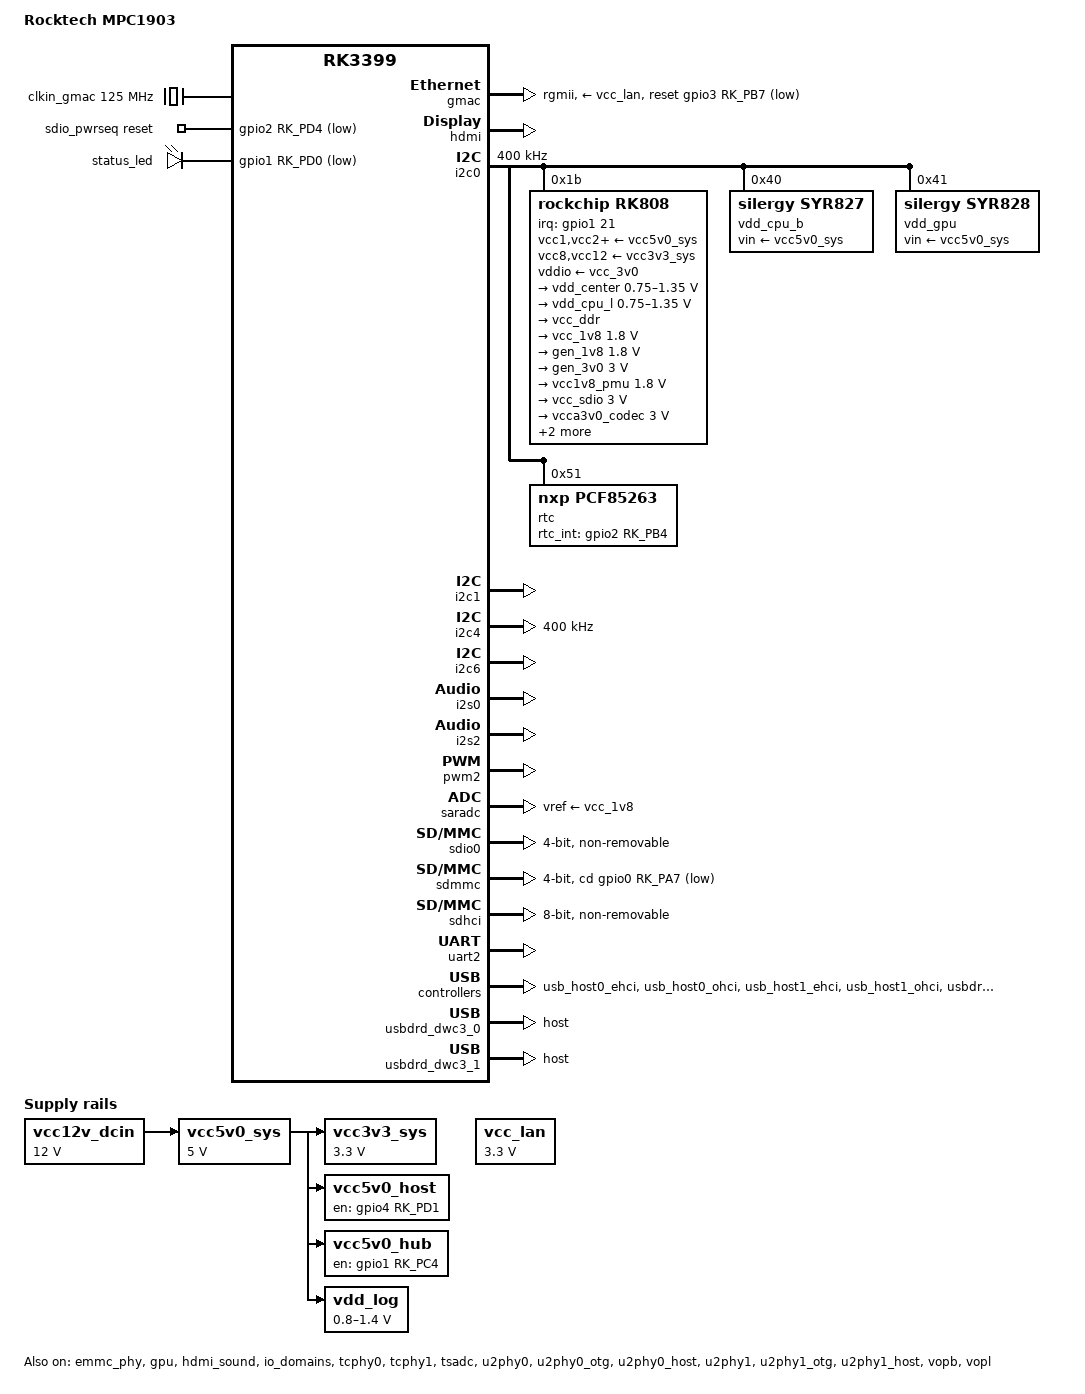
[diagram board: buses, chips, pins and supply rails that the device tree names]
// SPDX-License-Identifier: (GPL-2.0+ OR MIT)

/dts-v1/;
#include <dt-bindings/input/input.h>
#include "rk3399.dtsi"
#include "rk3399-opp.dtsi"

/ {
	model = "Rocktech MPC1903";
	compatible = "rocktech,mpc1903", "rockchip,rk3399";

	aliases {
		mmc0 = &sdmmc;
		mmc1 = &sdhci;
	};

	chosen {
		stdout-path = "serial2:1500000n8";
	};

	clkin_gmac: external-gmac-clock {
		compatible = "fixed-clock";
		clock-frequency = <125000000>;
		clock-output-names = "clkin_gmac";
		#clock-cells = <0>;
	};

	sdio_pwrseq: sdio-pwrseq {
		compatible = "mmc-pwrseq-simple";
		clocks = <&rk808 1>;
		clock-names = "ext_clock";
		pinctrl-names = "default";
		pinctrl-0 = <&wifi_enable_h>;
		reset-gpios = <&gpio2 RK_PD4 GPIO_ACTIVE_LOW>;
	};

	vcc12v_dcin: dc-12v {
		compatible = "regulator-fixed";
		regulator-name = "vcc12v_dcin";
		regulator-always-on;
		regulator-boot-on;
		regulator-min-microvolt = <12000000>;
		regulator-max-microvolt = <12000000>;
	};

	vcc5v0_sys: vcc-sys {
		compatible = "regulator-fixed";
		regulator-name = "vcc5v0_sys";
		regulator-always-on;
		regulator-boot-on;
		regulator-min-microvolt = <5000000>;
		regulator-max-microvolt = <5000000>;
		vin-supply = <&vcc12v_dcin>;
	};

	vcc3v3_sys: vcc3v3-sys {
		compatible = "regulator-fixed";
		regulator-name = "vcc3v3_sys";
		regulator-always-on;
		regulator-boot-on;
		regulator-min-microvolt = <3300000>;
		regulator-max-microvolt = <3300000>;
		vin-supply = <&vcc5v0_sys>;
	};

	vcc5v0_host: vcc5v0-host {
		compatible = "regulator-fixed";
		enable-active-high;
		gpio = <&gpio4 RK_PD1 GPIO_ACTIVE_HIGH>;
		pinctrl-names = "default";
		pinctrl-0 = <&vcc5v0_host_en>;
		regulator-name = "vcc5v0_host";
		regulator-always-on;
		vin-supply = <&vcc5v0_sys>;
	};

	vcc5v0_hub: vcc5v0-hub {
		compatible = "regulator-fixed";
		enable-active-high;
		gpio = <&gpio1 RK_PC4 GPIO_ACTIVE_HIGH>;
		pinctrl-names = "default";
		pinctrl-0 = <&vcc5v0_hub_en>;
		regulator-name = "vcc5v0_hub";
		regulator-always-on;
		vin-supply = <&vcc5v0_sys>;
	};

	vcc_lan: vcc-phy {
		compatible = "regulator-fixed";
		regulator-name = "vcc_lan";
		regulator-always-on;
		regulator-boot-on;
		regulator-min-microvolt = <3300000>;
		regulator-max-microvolt = <3300000>;
	};

	vdd_log: vdd-log {
		compatible = "pwm-regulator";
		pwms = <&pwm2 0 25000 1>;
		regulator-name = "vdd_log";
		regulator-always-on;
		regulator-boot-on;
		regulator-min-microvolt = <800000>;
		regulator-max-microvolt = <1400000>;
		vin-supply = <&vcc5v0_sys>;
	};

	leds {
		compatible = "gpio-leds";
		pinctrl-names = "default";
		pinctrl-0 = <&status_led_pin>;

		status_led: status-led {
			label = "status_led";
			linux,default-trigger = "heartbeat";
			gpios = <&gpio1 RK_PD0 GPIO_ACTIVE_LOW>;
		};
	};
};

&cpu_l0 {
	cpu-supply = <&vdd_cpu_l>;
};

&cpu_l1 {
	cpu-supply = <&vdd_cpu_l>;
};

&cpu_l2 {
	cpu-supply = <&vdd_cpu_l>;
};

&cpu_l3 {
	cpu-supply = <&vdd_cpu_l>;
};

&cpu_b0 {
	cpu-supply = <&vdd_cpu_b>;
};

&cpu_b1 {
	cpu-supply = <&vdd_cpu_b>;
};

&emmc_phy {
	status = "okay";
};

&gmac {
	assigned-clocks = <&cru SCLK_RMII_SRC>;
	assigned-clock-parents = <&clkin_gmac>;
	clock_in_out = "input";
	phy-supply = <&vcc_lan>;
	phy-mode = "rgmii";
	pinctrl-names = "default";
	pinctrl-0 = <&rgmii_pins>;
	snps,reset-gpio = <&gpio3 RK_PB7 GPIO_ACTIVE_LOW>;
	snps,reset-active-low;
	snps,reset-delays-us = <0 10000 50000>;
	tx_delay = <0x28>;
	rx_delay = <0x11>;
	status = "okay";
};

&gpu {
	mali-supply = <&vdd_gpu>;
	status = "okay";
};

&hdmi {
	ddc-i2c-bus = <&i2c3>;
	pinctrl-names = "default";
	pinctrl-0 = <&hdmi_i2c_xfer>;
	status = "okay";
};

&hdmi_sound {
	status = "okay";
};

&i2c0 {
	clock-frequency = <400000>;
	i2c-scl-rising-time-ns = <168>;
	i2c-scl-falling-time-ns = <4>;
	status = "okay";

	rk808: pmic@1b {
		compatible = "rockchip,rk808";
		reg = <0x1b>;
		interrupt-parent = <&gpio1>;
		interrupts = <21 IRQ_TYPE_LEVEL_LOW>;
		#clock-cells = <1>;
		clock-output-names = "xin32k", "rk808-clkout2";
		pinctrl-names = "default";
		pinctrl-0 = <&pmic_int_l>;
		rockchip,system-power-controller;
		wakeup-source;

		vcc1-supply = <&vcc5v0_sys>;
		vcc2-supply = <&vcc5v0_sys>;
		vcc3-supply = <&vcc5v0_sys>;
		vcc4-supply = <&vcc5v0_sys>;
		vcc6-supply = <&vcc5v0_sys>;
		vcc7-supply = <&vcc5v0_sys>;
		vcc8-supply = <&vcc3v3_sys>;
		vcc9-supply = <&vcc5v0_sys>;
		vcc10-supply = <&vcc5v0_sys>;
		vcc11-supply = <&vcc5v0_sys>;
		vcc12-supply = <&vcc3v3_sys>;
		vddio-supply = <&vcc_3v0>;

		regulators {
			vdd_center: DCDC_REG1 {
				regulator-name = "vdd_center";
				regulator-always-on;
				regulator-boot-on;
				regulator-min-microvolt = <750000>;
				regulator-max-microvolt = <1350000>;
				regulator-ramp-delay = <6001>;

				regulator-state-mem {
					regulator-off-in-suspend;
				};
			};

			vdd_cpu_l: DCDC_REG2 {
				regulator-name = "vdd_cpu_l";
				regulator-always-on;
				regulator-boot-on;
				regulator-min-microvolt = <750000>;
				regulator-max-microvolt = <1350000>;
				regulator-ramp-delay = <6001>;

				regulator-state-mem {
					regulator-off-in-suspend;
				};
			};

			vcc_ddr: DCDC_REG3 {
				regulator-name = "vcc_ddr";
				regulator-always-on;
				regulator-boot-on;

				regulator-state-mem {
					regulator-on-in-suspend;
				};
			};

			vcc_1v8: DCDC_REG4 {
				regulator-name = "vcc_1v8";
				regulator-always-on;
				regulator-boot-on;
				regulator-min-microvolt = <1800000>;
				regulator-max-microvolt = <1800000>;

				regulator-state-mem {
					regulator-on-in-suspend;
					regulator-suspend-microvolt = <1800000>;
				};
			};

			gen_1v8: LDO_REG1 {
				regulator-name = "gen_1v8";
				regulator-always-on;
				regulator-boot-on;
				regulator-min-microvolt = <1800000>;
				regulator-max-microvolt = <1800000>;

				regulator-state-mem {
					regulator-off-in-suspend;
				};
			};

			gen_3v0: LDO_REG2 {
				regulator-name = "gen_3v0";
				regulator-always-on;
				regulator-boot-on;
				regulator-min-microvolt = <3000000>;
				regulator-max-microvolt = <3000000>;

				regulator-state-mem {
					regulator-on-in-suspend;
					regulator-suspend-microvolt = <3000000>;
				};
			};

			vcc1v8_pmu: LDO_REG3 {
				regulator-name = "vcc1v8_pmu";
				regulator-always-on;
				regulator-boot-on;
				regulator-min-microvolt = <1800000>;
				regulator-max-microvolt = <1800000>;

				regulator-state-mem {
					regulator-on-in-suspend;
					regulator-suspend-microvolt = <1800000>;
				};
			};

			vcc_sdio: LDO_REG4 {
				regulator-name = "vcc_sdio";
				regulator-always-on;
				regulator-boot-on;
				regulator-min-microvolt = <3000000>;
				regulator-max-microvolt = <3000000>;

				regulator-state-mem {
					regulator-on-in-suspend;
					regulator-suspend-microvolt = <3000000>;
				};
			};

			vcca3v0_codec: LDO_REG5 {
				regulator-name = "vcca3v0_codec";
				regulator-always-on;
				regulator-boot-on;
				regulator-min-microvolt = <3000000>;
				regulator-max-microvolt = <3000000>;

				regulator-state-mem {
					regulator-off-in-suspend;
				};
			};

			vcc_1v5: LDO_REG6 {
				regulator-name = "vcc_1v5";
				regulator-always-on;
				regulator-boot-on;
				regulator-min-microvolt = <1500000>;
				regulator-max-microvolt = <1500000>;

				regulator-state-mem {
					regulator-off-in-suspend;
				};
			};

			vcc1v8_codec: LDO_REG7 {
				regulator-name = "vcc1v8_codec";
				regulator-always-on;
				regulator-boot-on;
				regulator-min-microvolt = <1800000>;
				regulator-max-microvolt = <1800000>;

				regulator-state-mem {
					regulator-off-in-suspend;
					regulator-suspend-microvolt = <1800000>;
				};
			};

			vcc_3v0: LDO_REG8 {
				regulator-name = "vcc_3v0";
				regulator-always-on;
				regulator-boot-on;
				regulator-min-microvolt = <3000000>;
				regulator-max-microvolt = <3000000>;

				regulator-state-mem {
					regulator-on-in-suspend;
					regulator-suspend-microvolt = <3000000>;
				};
			};

			vcc3v3_s3: SWITCH_REG1 {
				regulator-always-on;
				regulator-boot-on;
				regulator-name = "vcc3v3_s3";

				regulator-state-mem {
					regulator-off-in-suspend;
				};
			};

			vcc3v3_s0: SWITCH_REG2 {
				regulator-always-on;
				regulator-boot-on;
				regulator-name = "vcc3v3_s0";

				regulator-state-mem {
					regulator-off-in-suspend;
				};
			};
		};
	};

	vdd_cpu_b: regulator@40 {
		compatible = "silergy,syr827";
		reg = <0x40>;
		fcs,suspend-voltage-selector = <1>;
		pinctrl-names = "default";
		pinctrl-0 = <&vsel1_pin>;
		regulator-name = "vdd_cpu_b";
		regulator-min-microvolt = <712500>;
		regulator-max-microvolt = <1500000>;
		regulator-ramp-delay = <1000>;
		regulator-always-on;
		regulator-boot-on;
		vin-supply = <&vcc5v0_sys>;

		regulator-state-mem {
			regulator-off-in-suspend;
		};
	};

	vdd_gpu: regulator@41 {
		compatible = "silergy,syr828";
		reg = <0x41>;
		fcs,suspend-voltage-selector = <1>;
		pinctrl-names = "default";
		pinctrl-0 = <&vsel2_pin>;
		regulator-name = "vdd_gpu";
		regulator-min-microvolt = <712500>;
		regulator-max-microvolt = <1500000>;
		regulator-ramp-delay = <1000>;
		regulator-always-on;
		regulator-boot-on;
		vin-supply = <&vcc5v0_sys>;

		regulator-state-mem {
			regulator-off-in-suspend;
		};
	};

	rtc: pcf85263@51 {
		compatible = "nxp,pcf85263";
		reg = <0x51>;
		pinctrl-0 = <&rtc_int>;
		rtc_int_gpio = <&gpio2 RK_PB4 GPIO_ACTIVE_HIGH>;
	};
};

&i2c1 {
	i2c-scl-rising-time-ns = <300>;
	i2c-scl-falling-time-ns = <15>;
	status = "okay";
};

&i2c4 {
	clock-frequency = <400000>;
	i2c-scl-rising-time-ns = <450>;
	i2c-scl-falling-time-ns = <15>;
	status = "okay";
};

&i2c6 {
	status = "okay";
};

&i2s0 {
	rockchip,i2s-broken-burst-len;
	rockchip,playback-channels = <8>;
	rockchip,capture-channels = <8>;
	status = "okay";
};

&i2s2 {
	rockchip,bclk-fs = <128>;
	status = "okay";
};

&io_domains {
	status = "okay";

	bt656-supply = <&vcc_3v0>;
	audio-supply = <&vcc1v8_codec>;
	sdmmc-supply = <&vcc_sdio>;
	gpio1830-supply = <&vcc_3v0>;
};

&pmu_io_domains {
	status = "okay";

	pmu1830-supply = <&vcc_3v0>;
};

&pinctrl {
	bt {
		bt_enable_h: bt-enable-h {
			rockchip,pins = <2 RK_PC3 RK_FUNC_GPIO &pcfg_pull_none>;
		};
	};

	pmic {
		pmic_int_l: pmic-int-l {
			rockchip,pins = <1 RK_PC5 RK_FUNC_GPIO &pcfg_pull_up>;
		};

		vsel1_pin: vsel1-pin {
			rockchip,pins = <1 RK_PC1 RK_FUNC_GPIO &pcfg_pull_down>;
		};

		vsel2_pin: vsel2-pin {
			rockchip,pins = <1 RK_PB6 RK_FUNC_GPIO &pcfg_pull_down>;
		};
	};

	usb2 {
		vcc5v0_host_en: vcc5v0-host-en {
			rockchip,pins = <1 RK_PA0 RK_FUNC_GPIO &pcfg_pull_none>;
		};

		vcc5v0_hub_en: vcc5v0-hub-en {
			rockchip,pins = <1 RK_PC4 RK_FUNC_GPIO &pcfg_pull_up>;
		};
	};

	wifi {
		wifi_enable_h: wifi-enable-h {
			rockchip,pins = <2 RK_PD4 RK_FUNC_GPIO &pcfg_pull_none>;
		};
	};

	rtc {
		rtc_int: rtc-int {
			rockchip,pins = <2 RK_PB5 RK_FUNC_GPIO &pcfg_pull_up>;
		};
	};

	led {
		status_led_pin: status-led-pin {
			rockchip,pins = <1 RK_PD0 RK_FUNC_GPIO &pcfg_pull_up>;
		};
	};

	rockchip-key {
		power_key: power-key {
			rockchip,pins = <0 RK_PA2 RK_FUNC_GPIO &pcfg_pull_up>;
		};
	};
};

&pwm2 {
	status = "okay";
};

&saradc {
	status = "okay";

	vref-supply = <&vcc_1v8>;
};

&sdio0 {
	bus-width = <4>;
	clock-frequency = <50000000>;
	cap-sdio-irq;
	cap-sd-highspeed;
	keep-power-in-suspend;
	mmc-pwrseq = <&sdio_pwrseq>;
	non-removable;
	pinctrl-names = "default";
	pinctrl-0 = <&sdio0_bus4 &sdio0_cmd &sdio0_clk>;
	sd-uhs-sdr104;
};

&sdmmc {
	bus-width = <4>;
	cap-mmc-highspeed;
	cap-sd-highspeed;
	cd-gpios = <&gpio0 RK_PA7 GPIO_ACTIVE_LOW>;
	disable-wp;
	max-frequency = <150000000>;
	pinctrl-names = "default";
	pinctrl-0 = <&sdmmc_clk &sdmmc_cd &sdmmc_cmd &sdmmc_bus4>;
	status = "okay";
};

&sdhci {
	bus-width = <8>;
	mmc-hs400-1_8v;
	mmc-hs400-enhanced-strobe;
	non-removable;
	status = "okay";
};

&tcphy0 {
	status = "okay";
};

&tcphy1 {
	status = "okay";
};

&tsadc {
	status = "okay";
	rockchip,hw-tshut-temp = <120000>;
	/* tshut mode 0:CRU 1:GPIO */
	rockchip,hw-tshut-mode = <1>;
	/* tshut polarity 0:LOW 1:HIGH */
	rockchip,hw-tshut-polarity = <1>;
};

&u2phy0 {
	status = "okay";
};

&u2phy0_otg {
	status = "okay";
};

&u2phy0_host {
	status = "okay";
};

&u2phy1 {
	status = "okay";
};

&u2phy1_otg {
	status = "okay";
};

&u2phy1_host {
	status = "okay";
};

&uart0 {
	pinctrl-names = "default";
	pinctrl-0 = <&uart0_xfer &uart0_cts &uart0_rts>;
};

&uart2 {
	status = "okay";
};

&usb_host0_ehci {
	status = "okay";
};

&usb_host0_ohci {
	status = "okay";
};

&usb_host1_ehci {
	status = "okay";
};

&usb_host1_ohci {
	status = "okay";
};

&usbdrd3_0 {
	status = "okay";
};

&usbdrd_dwc3_0 {
	status = "okay";
	dr_mode = "host";
};

&usbdrd3_1 {
	status = "okay";
};

&usbdrd_dwc3_1 {
	status = "okay";
	dr_mode = "host";
};

&vopb {
	status = "okay";
};

&vopb_mmu {
	status = "okay";
};

&vopl {
	status = "okay";
};

&vopl_mmu {
	status = "okay";
};
